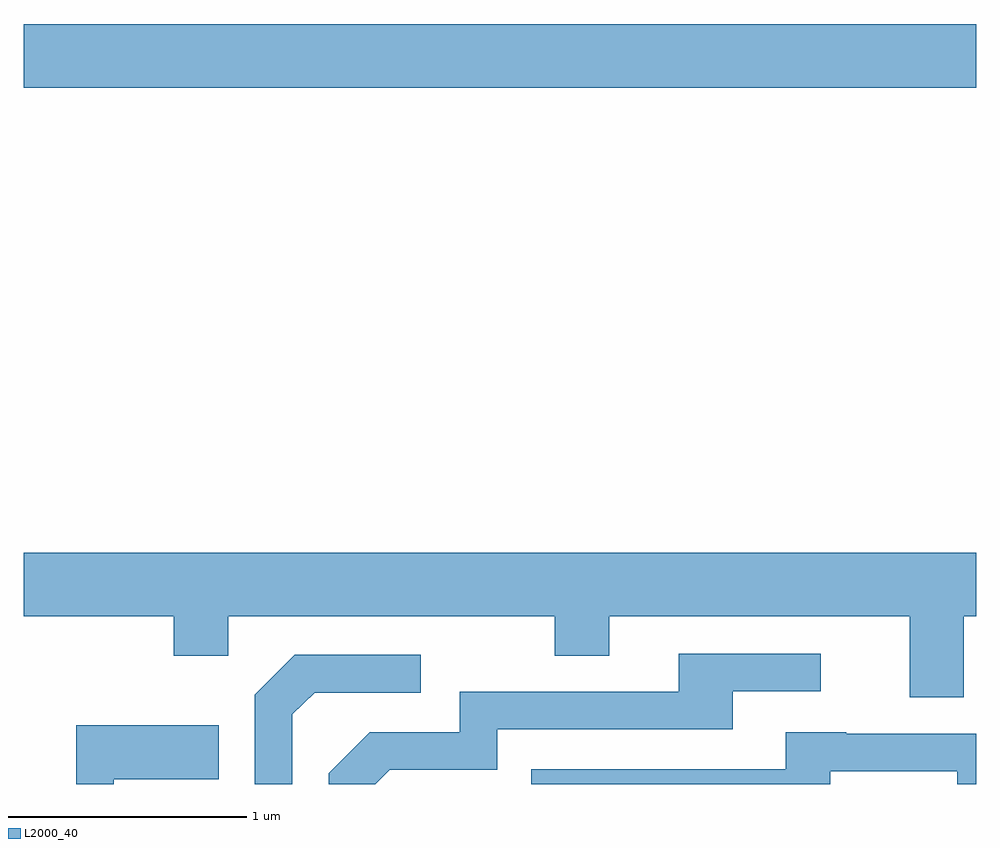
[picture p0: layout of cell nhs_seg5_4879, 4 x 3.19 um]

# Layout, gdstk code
import gdstk
lib = gdstk.Library(unit=1e-6, precision=1e-09)
def R(c, l, rs):  # rectangles x0, y0, x1, y1
    for r in rs: c.add(gdstk.rectangle(r[:2], r[2:], *l))
def P(c, l, *ps):  # polygons
    for p in ps: c.add(gdstk.Polygon(p, *l))
L2000_40 = (2000, 40)

nhs_seg5_4879 = lib.new_cell('nhs_seg5_4879')
R(nhs_seg5_4879, L2000_40, [(329.611,1478.996,333.611,1479.264)])
P(nhs_seg5_4879, L2000_40, [(333.559,1476.776),(333.611,1476.776),(333.611,1477.044),(329.611,1477.044),(329.611,1476.776),(330.241,1476.776),(330.241,1476.611),(330.469,1476.611),(330.469,1476.776),(331.841,1476.776),(331.841,1476.611),(332.069,1476.611),(332.069,1476.776),(333.331,1476.776),(333.331,1476.436),(333.559,1476.436)],
  [(331.147,1476.131),(331.599,1476.131),(331.599,1476.301),(332.589,1476.301),(332.589,1476.461),(332.958,1476.461),(332.958,1476.619),(332.361,1476.619),(332.361,1476.459),(331.441,1476.459),(331.441,1476.289),(331.064,1476.289),(330.891,1476.117),(330.891,1476.072),(331.087,1476.072)],
  [(330.739,1476.364),(330.832,1476.456),(331.278,1476.456),(331.278,1476.614),(330.749,1476.614),(330.581,1476.447),(330.581,1476.072),(330.739,1476.072)],
  [(329.989,1476.091),(330.429,1476.091),(330.429,1476.319),(329.831,1476.319),(329.831,1476.072),(329.989,1476.072)],
  [(332.999,1476.126),(333.531,1476.126),(333.531,1476.072),(333.611,1476.072),(333.611,1476.284),(333.065,1476.284),(333.065,1476.289),(332.811,1476.289),(332.811,1476.134),(331.743,1476.134),(331.743,1476.072),(332.999,1476.072)])

lib.write_gds('nhs_seg5_4879.gds')
